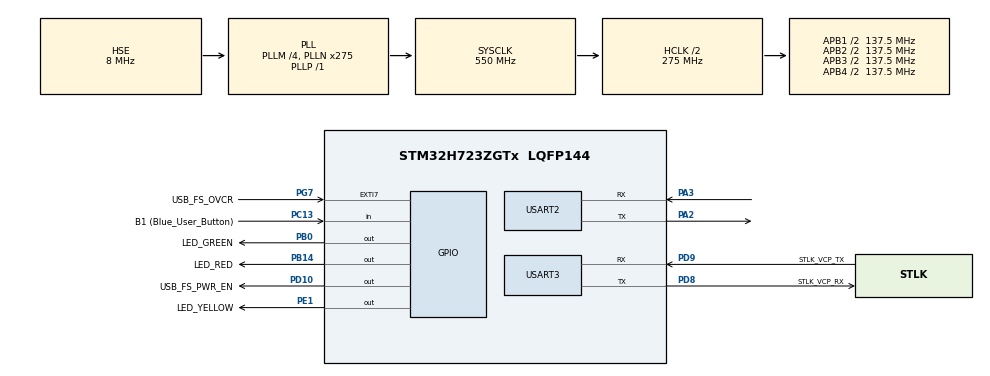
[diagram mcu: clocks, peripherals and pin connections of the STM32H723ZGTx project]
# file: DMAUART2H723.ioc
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Dma.Request0=USART2_TX
Dma.Request1=USART2_RX
Dma.USART2_RX.1.Direction=DMA_PERIPH_TO_MEMORY
Dma.USART2_RX.1.EventEnable=DISABLE
Dma.USART2_RX.1.FIFOMode=DMA_FIFOMODE_DISABLE
Dma.USART2_RX.1.Instance=DMA1_Stream1
Dma.USART2_RX.1.MemDataAlignment=DMA_MDATAALIGN_BYTE
Dma.USART2_RX.1.MemInc=DMA_MINC_ENABLE
Dma.USART2_RX.1.Mode=DMA_NORMAL
Dma.USART2_RX.1.PeriphDataAlignment=DMA_PDATAALIGN_BYTE
Dma.USART2_RX.1.PeriphInc=DMA_PINC_DISABLE
Dma.USART2_RX.1.Polarity=HAL_DMAMUX_REQ_GEN_RISING
Dma.USART2_RX.1.Priority=DMA_PRIORITY_LOW
Dma.USART2_RX.1.RequestNumber=1
Dma.USART2_RX.1.SignalID=NONE
Dma.USART2_RX.1.SyncEnable=DISABLE
Dma.USART2_RX.1.SyncPolarity=HAL_DMAMUX_SYNC_NO_EVENT
Dma.USART2_RX.1.SyncRequestNumber=1
Dma.USART2_RX.1.SyncSignalID=NONE
Dma.USART2_TX.0.Direction=DMA_MEMORY_TO_PERIPH
Dma.USART2_TX.0.EventEnable=DISABLE
Dma.USART2_TX.0.FIFOMode=DMA_FIFOMODE_DISABLE
Dma.USART2_TX.0.Instance=DMA1_Stream0
Dma.USART2_TX.0.MemDataAlignment=DMA_MDATAALIGN_BYTE
Dma.USART2_TX.0.MemInc=DMA_MINC_ENABLE
Dma.USART2_TX.0.Mode=DMA_NORMAL
Dma.USART2_TX.0.PeriphDataAlignment=DMA_PDATAALIGN_BYTE
Dma.USART2_TX.0.PeriphInc=DMA_PINC_DISABLE
Dma.USART2_TX.0.Polarity=HAL_DMAMUX_REQ_GEN_RISING
Dma.USART2_TX.0.Priority=DMA_PRIORITY_LOW
Dma.USART2_TX.0.RequestNumber=1
Dma.USART2_TX.0.SignalID=NONE
Dma.USART2_TX.0.SyncEnable=DISABLE
Dma.USART2_TX.0.SyncPolarity=HAL_DMAMUX_SYNC_NO_EVENT
Dma.USART2_TX.0.SyncRequestNumber=1
Dma.USART2_TX.0.SyncSignalID=NONE
Mcu.Family=STM32H7
Mcu.Name=STM32H723ZGTx
Mcu.Package=LQFP144
NVIC.DMA1_Stream0_IRQn=true\:0\:0\:false\:false\:true\:false\:true\:true
NVIC.DMA1_Stream1_IRQn=true\:0\:0\:false\:false\:true\:false\:true\:true
NVIC.PriorityGroup=NVIC_PRIORITYGROUP_4
NVIC.USART3_IRQn=true\:0\:0\:false\:false\:true\:true\:true\:true
PA1.GPIO_Label=RMII_REF_CLK
PA1.Signal=ETH_REF_CLK
PA10.GPIO_Label=USB_FS_ID
PA10.Signal=USB_OTG_HS_ID
PA13(JTMS/SWDIO).GPIO_Label=SWDIO
PA13(JTMS/SWDIO).Mode=Trace_Asynchronous_SW
PA13(JTMS/SWDIO).Signal=DEBUG_JTMS-SWDIO
PA14(JTCK/SWCLK).GPIO_Label=SWCLK
PA14(JTCK/SWCLK).Mode=Trace_Asynchronous_SW
PA14(JTCK/SWCLK).Signal=DEBUG_JTCK-SWCLK
PA2.Mode=Asynchronous
PA2.Signal=USART2_TX
PA3.Mode=Asynchronous
PA3.Signal=USART2_RX
PA7.GPIO_Label=RMII_CRS_DV
PA7.Signal=ETH_CRS_DV
PA9.GPIO_Label=USB_FS_VBUS
PA9.Signal=USB_OTG_HS_VBUS
PB0.GPIO_Label=LED_GREEN
PB0.Signal=GPIO_Output
PB13.GPIO_Label=RMII_TXD1
PB13.Signal=ETH_TXD1
PB14.GPIO_Label=LED_RED
PB14.Signal=GPIO_Output
PB3(JTDO/TRACESWO).GPIO_Label=SWO
PB3(JTDO/TRACESWO).Mode=Trace_Asynchronous_SW
PB3(JTDO/TRACESWO).Signal=DEBUG_JTDO-SWO
PC1.GPIO_Label=RMII_MDC
PC1.Signal=ETH_MDC
PC13.GPIO_Label=B1 (Blue_User_Button)
PC13.Signal=GPIO_Input
PC14-OSC32_IN.Mode=LSE-External-Oscillator
PC14-OSC32_IN.Signal=RCC_OSC32_IN
PC15-OSC32_OUT.Mode=LSE-External-Oscillator
PC15-OSC32_OUT.Signal=RCC_OSC32_OUT
PC4.GPIO_Label=RMII_RXD0
PC4.Signal=ETH_RXD0
PC5.GPIO_Label=RMII_RXD1
PC5.Signal=ETH_RXD1
PD10.GPIO_Label=USB_FS_PWR_EN
PD10.Signal=GPIO_Output
PD8.GPIO_Label=STLK_VCP_RX
PD8.Mode=Asynchronous
PD8.Signal=USART3_TX
PD9.GPIO_Label=STLK_VCP_TX
PD9.Mode=Asynchronous
PD9.Signal=USART3_RX
PE1.GPIO_Label=LED_YELLOW
PE1.Signal=GPIO_Output
PG11.GPIO_Label=RMII_TX_EN
PG11.Signal=ETH_TX_EN
PG13.GPIO_Label=RMII_TXD0
PG13.Signal=ETH_TXD0
PG7.GPIO_Label=USB_FS_OVCR
PG7.Signal=GPXTI7
PH0-OSC_IN.GPIO_Label=MCO
PH0-OSC_IN.Mode=HSE-External-Clock-Source
PH0-OSC_IN.Signal=RCC_OSC_IN
PH1-OSC_OUT.Signal=RCC_OSC_OUT
ProjectManager.HeapSize=0x200
ProjectManager.StackSize=0x400
ProjectManager.TargetToolchain=STM32CubeIDE
RCC.ADCFreq_Value=76000000
RCC.APB1Freq_Value=137500000
RCC.APB2Freq_Value=137500000
RCC.APB3Freq_Value=137500000
RCC.APB4Freq_Value=137500000
RCC.CortexFreq_Value=550000000
RCC.D1PPRE=RCC_APB3_DIV2
RCC.D2PPRE1=RCC_APB1_DIV2
RCC.D2PPRE2=RCC_APB2_DIV2
RCC.D3PPRE=RCC_APB4_DIV2
RCC.DIVM1=4
RCC.DIVM2=1
RCC.DIVN1=275
RCC.DIVN2=19
RCC.DIVP1=1
RCC.DIVQ1=4
RCC.HCLKFreq_Value=275000000
RCC.HPRE=RCC_HCLK_DIV2
RCC.HSE_VALUE=8000000
RCC.PLLFRACN=0
RCC.PLLSourceVirtual=RCC_PLLSOURCE_HSE
RCC.SYSCLKFreq_VALUE=550000000
RCC.SYSCLKSource=RCC_SYSCLKSOURCE_PLLCLK
RCC.USBCLockSelection=RCC_USBCLKSOURCE_HSI48
RCC.USBFreq_Value=48000000
USART2.VirtualMode-Asynchronous=VM_ASYNC
USART3.VirtualMode-Asynchronous=VM_ASYNC
VP_MEMORYMAP_VS_MEMORYMAP.Mode=CurAppReg
board=NUCLEO-H723ZG

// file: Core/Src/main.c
/* USER CODE BEGIN Header */
/**
  ******************************************************************************
  * @file           : main.c
  * @brief          : Main program body
  ******************************************************************************
  * @attention
  *
  * Copyright (c) 2024 STMicroelectronics.
  * All rights reserved.
  *
  * This software is licensed under terms that can be found in the LICENSE file
  * in the root directory of this software component.
  * If no LICENSE file comes with this software, it is provided AS-IS.
  *
  ******************************************************************************
  */
/* USER CODE END Header */
#include "main.h"

/* USER CODE BEGIN Includes */
#include "string.h"
#include "stdio.h"

/* USER CODE END Includes */

UART_HandleTypeDef huart2;
UART_HandleTypeDef huart3;
DMA_HandleTypeDef hdma_usart2_tx;
DMA_HandleTypeDef hdma_usart2_rx;

/* USER CODE BEGIN PV */

#if defined( __ICCARM__ )
  #define DMA_BUFFER \
      _Pragma("location=\".dma_buffer\"")
#else
  #define DMA_BUFFER \
      __attribute__((section(".dma_buffer")))
#endif

/* application config */
uint8_t testSendingOnInit = 1;
uint8_t testSendingStopOnReceivedData = 1;

/* application status */
uint8_t testSending = 0;
uint8_t greenOn = 0;
uint8_t redOn = 0;
uint8_t yellowOn = 0;

/* statistics and debugging */

uint16_t errorCounter = 0;

uint16_t uartRXUnknownInterrupt = 0;
uint16_t uartRXParityErrorInterrupt = 0;
uint16_t uartRXFramingErrorInterrupt = 0;
uint16_t uartRXNoiseErrorInterrupt = 0;
uint16_t uartRXOverrunErrorInterrupt = 0;
uint16_t uartRXErrorInterrupt = 0;

uint16_t messagesTXCompleted = 0;				/* successfully sent messages */
uint16_t messagesTXCompletedUnexpected = 0;		/* unexpected (unknown not sent by us) successfully sent messages */
uint16_t messagesTXSkipped = 0;					/* skipped message sending because previous is not finished */
uint16_t messagesTXIdle = 0;					/* executed sendPreparedModbusResponse() w/ prepared response data (modbusResponseSize = 0) */

uint16_t uartRXActiveToIdleDetections = 0;		/* times entered RX active to idle line interrupt */
uint16_t uartRXFullBufferDetections = 0;		/* times entered RX dma full buffer interrupt */
uint16_t uartRXActiveToIdleNotExpected = 0;		/* not expected idle detections (still transmitting or message received while not processes previous received request) */
uint16_t uartRXFullBufferNotExpected = 0;		/* not expected buffer full (still transmitting or message received while not processes previous received request) */

uint16_t messagesRXProcessed = 0;				/* total received requests */
uint16_t messagesTXResponsesToRXRequests = 0;	/* responses to received requests */
uint16_t messagesNOResponsesToRXRequests = 0;	/* received requests without response */

uint16_t messagesRXNotProcessed = 0;
uint16_t messagesRXIdle = 0;					/* executed processReceivedModbusRequests() w/ received message to process (modbusBytesReceived = 0) */

uint16_t messageRXZeroBytes = 0;
uint16_t lastDMAUart2RXCounterTooBig = 0;

/* transmit semaphores */
volatile uint8_t sendingMessage = 0;
/* receive semaphores */
volatile uint8_t uartRXDeny = 0;
volatile uint8_t uartRXCompleteOnFullBuffer = 0;
volatile uint8_t uartRXCompleteOnActiveToIdleLine = 0;

/* Buffer and size for MODBUS response */
#define MODBUS_TX_BUFFER_SIZE 256  				/* Adjust this size based on expected response length */
DMA_BUFFER uint8_t modbusResponse[MODBUS_TX_BUFFER_SIZE];  /* Buffer for preparation of the MODBUS response message */
uint8_t modbusResponseSize = 0;

/* Buffer for Test Message Send */
const uint8_t messageTestSend[] = {0x01, 0x03, 0x02, 0x00, 0x10, 0xB9, 0x88};  /* Used for testing send */

/* Buffer and size for MODBUS requests */
#define MODBUS_RX_BUFFER_SIZE 256  				/* Adjust this size based on expected request length */
DMA_BUFFER uint8_t modbusRequest[MODBUS_RX_BUFFER_SIZE];  	/* Buffer to store incoming MODBUS requests */
volatile uint16_t modbusBytesReceived = 0;

/* timing */
uint32_t previousMillisTest = 0;   // To store the last tick for test message
const uint32_t intervalTest = 1000; // ms interval test

uint32_t previousMillisLedGreen = 0;   // To store the last tick for turn led off
uint32_t previousMillisLedRed = 0;   // To store the last tick for turn led off
uint32_t previousMillisLedYellow = 0;   // To store the last tick for turn led off
const uint32_t intervalLedGreen = 100; // ms interval for led
const uint32_t intervalLedRed = 100; // ms interval for led
const uint32_t intervalLedYellow = 1000; // ms interval for led

#define UART_BUFFER_SIZE 16       // Buffer for up to 16 messages
#define UART_MAX_MESSAGE_SIZE 256  // Max size of each message

typedef struct {
    uint8_t buffer[UART_BUFFER_SIZE][UART_MAX_MESSAGE_SIZE];  // Message buffer
    uint16_t lengths[UART_BUFFER_SIZE];                       // Message lengths
    uint8_t head;  // Points to the next message to be sent
    uint8_t tail;  // Points to the next free slot
    uint8_t count; // Number of messages in the buffer
} UART_MessageBuffer;

UART_MessageBuffer uart_tx_buffer = { .head = 0, .tail = 0, .count = 0 };  // Initialize buffer

volatile uint8_t uart_transmitting = 0;  // Flag to indicate if transmission is ongoing
uint16_t debug_buffer_ovf = 0;
uint16_t debug_buffer_ovf_print = 0;
uint16_t debug_uart_handle_enterings = 0;
uint16_t debug_uart_handle_transmit_complete = 0;
uint16_t debug_uart_handle_transmit_empty = 0;
uint16_t debug_uart_handle_unknown = 0;
uint16_t debug_messagesTXCompleted = 0;
uint16_t debug_messagesTXCompletedUnexpected = 0;

uint16_t debug_uart_handle_receive = 0;
uint16_t debug_uart_handle_overrun_error = 0;
uint16_t debug_uart_handle_framing_error = 0;
uint16_t debug_uart_handle_parity_error = 0;
uint16_t debug_uart_handle_noise_error = 0;

uint16_t debug_uart_tx_empty_func_enterings = 0;
uint16_t debug_uart_try_send_func_enterings = 0;
uint16_t debug_uart_try_send_func_exec = 0;
uint16_t debug_uart_try_send_func_idle = 0;
uint16_t debug_uart_add_to_buffer = 0;
uint16_t debug_uart_try_send_func_exec_immediate = 0;

uint16_t debug_transmit_immediate_status_total = 0;
uint16_t debug_transmit_immediate_status_ok = 0;
uint16_t debug_transmit_immediate_status_error = 0;
uint16_t debug_transmit_immediate_status_busy = 0;
uint16_t debug_transmit_immediate_status_timeout = 0;

uint16_t debug_transmit_status_total = 0;
uint16_t debug_transmit_status_ok = 0;
uint16_t debug_transmit_status_error = 0;
uint16_t debug_transmit_status_busy = 0;
uint16_t debug_transmit_status_timeout = 0;

/* USER CODE END PV */

void SystemClock_Config(void);
static void MX_GPIO_Init(void);
static void MX_DMA_Init(void);
static void MX_USART2_UART_Init(void);
static void MX_USART3_UART_Init(void);
/* USER CODE BEGIN PFP */

void enableReceiveMessage(void);
void printBufferHex(char* tag, uint8_t* buffer, uint16_t size);

/* USER CODE END PFP */

/* USER CODE BEGIN 0 */

//void UART_TxEmpty(void)
//{
//	debug_uart_tx_empty_func_enterings++;
//	__HAL_UART_DISABLE_IT(&huart3, UART_IT_TXE);  // Specifically disable UART Transmit Empty interrupt
//}
void UART_TrySendMessagesFromBuffer(void)
{
	debug_uart_try_send_func_enterings++;
	if (uart_tx_buffer.count)
	{
		debug_uart_try_send_func_exec++;

		uart_transmitting = 1;
		HAL_StatusTypeDef status = HAL_UART_Transmit_IT(&huart3, uart_tx_buffer.buffer[uart_tx_buffer.head], uart_tx_buffer.lengths[uart_tx_buffer.head]);
		//__HAL_UART_CLEAR_FLAG(&huart2, UART_FLAG_TC); // Clear Transmission Complete flag
		//__HAL_UART_ENABLE_IT(&huart3, UART_IT_TC);  // Specifically enable UART Transmit Complete interrupt
		debug_transmit_status_total++;
		if(status == HAL_OK)
		{
			debug_transmit_status_ok++;
			// Transmission of the current message is complete
			uart_tx_buffer.head = (uart_tx_buffer.head + 1) % UART_BUFFER_SIZE;  // Move to the next message
			uart_tx_buffer.count--;
		}
		if(status == HAL_ERROR)
		{
			debug_transmit_status_error++;
		}
		if(status == HAL_BUSY)
		{
			debug_transmit_status_busy++;
		}
		if(status == HAL_TIMEOUT)
		{
			debug_transmit_status_timeout++;
		}
	}
	else
	{
		debug_uart_try_send_func_idle++;
		uart_transmitting = 0;  // No more messages to send
		//__HAL_UART_DISABLE_IT(&huart3, UART_IT_TC);  // Specifically disable UART Transmit Complete interrupt
	}
}

void UART_AddMessageToBuffer(uint8_t *data, uint16_t len)
{
    if (uart_tx_buffer.count < UART_BUFFER_SIZE)
    {
        // Add the message to the buffer
    	debug_uart_add_to_buffer++;
        memcpy(uart_tx_buffer.buffer[uart_tx_buffer.tail], data, len);
        uart_tx_buffer.lengths[uart_tx_buffer.tail] = len;
        uart_tx_buffer.tail = (uart_tx_buffer.tail + 1) % UART_BUFFER_SIZE;  // Increment tail
        uart_tx_buffer.count++;

        // If UART is not busy, start sending the first message
		if (uart_transmitting == 0)
        {
        	debug_uart_try_send_func_exec_immediate++;
        	UART_TrySendMessagesFromBuffer();
        }
    }
    else
    {
        // Buffer is full, handle overflow (e.g., discard message or notify error)
        //printf("Buffer full, message discarded!\r\n");
        debug_buffer_ovf++;
    }
}

int _write(int file, char *data, int len)
{
    UART_AddMessageToBuffer((uint8_t*)data, len);  // Add message to the buffer
    return len;  // Return the length of the message
}

void setGreenLed(void)
{
	HAL_GPIO_WritePin(GPIOB, LED_GREEN_Pin, GPIO_PIN_SET);
	greenOn = 1;
	previousMillisLedGreen = HAL_GetTick();
}

void setRedLed(void)
{
	HAL_GPIO_WritePin(GPIOB, LED_RED_Pin, GPIO_PIN_SET);
	redOn = 1;
	previousMillisLedRed = HAL_GetTick();
}

void setYellowLed(void)
{
	HAL_GPIO_WritePin(LED_YELLOW_GPIO_Port, LED_YELLOW_Pin, GPIO_PIN_SET);
	yellowOn = 1;
	previousMillisLedYellow = HAL_GetTick();
}

void resetGreenLed(void)
{
	HAL_GPIO_WritePin(GPIOB, LED_GREEN_Pin, GPIO_PIN_RESET);
	greenOn = 0;
}

void resetRedLed(void)
{
	HAL_GPIO_WritePin(GPIOB, LED_RED_Pin, GPIO_PIN_RESET);
	redOn = 0;
}

void resetYellowLed(void)
{
	HAL_GPIO_WritePin(LED_YELLOW_GPIO_Port, LED_YELLOW_Pin, GPIO_PIN_RESET);
	yellowOn = 0;
}

void modbusResponsePrepareTest(void)
{
	uint8_t size;
	size = sizeof(messageTestSend);
	memcpy(modbusResponse, messageTestSend, size);
	modbusResponseSize = size;
}

void sendPreparedModbusResponse(void)
{
	if (sendingMessage)
	{
		messagesTXSkipped++;
		return;
	}
	if (modbusResponseSize)
	{
		/* Start UART transmission using DMA */
        printf("Transmit Message of %d bytes\r\n", modbusResponseSize);  // Debugging line
		printBufferHex("TX", modbusResponse, modbusResponseSize);

		HAL_StatusTypeDef status = HAL_UART_Transmit_DMA(&huart2, modbusResponse, modbusResponseSize);
		if (status != HAL_OK)
		{
			printf("Error in sendPreparedModbusResponse HAL_UART_Transmit_DMA() call 1 returns:%d\r\n", status);
			status = HAL_UART_AbortTransmit(&huart2);
			if (status != HAL_OK)
			{
				printf("Error in sendPreparedModbusResponse HAL_UART_AbortTransmit() returns:%d\r\n", status);
			}
			status = HAL_UART_Transmit_DMA(&huart2, modbusResponse, modbusResponseSize);
			if (status != HAL_OK)
			{
				printf("Error in sendPreparedModbusResponse HAL_UART_AbortTransmit() call 2 returns:%d\r\n", status);
			}
		}
	    /* Enable Transmission Complete Interrupt for UART2 */
	    //__HAL_UART_ENABLE_IT(&huart2, UART_IT_TC);

		sendingMessage = 1;
		setGreenLed();
	}
	else
	{
		messagesTXIdle++;
	}
}

void modbusResponsePrepareForLastReceivedRequest(void)
{
	/* evaluate modbusBytesReceived and modbusRequest */
	/* prepare modbusResponseSize and modbusResponse */
	uint8_t size;
	size = sizeof(messageTestSend);
	memcpy(modbusResponse, messageTestSend, size);
	modbusResponseSize = size;
}

void configureDMAforUART2TX(void)
{
    /* Configure DMA for UART2 TX */
    hdma_usart2_tx.Instance = DMA1_Stream0;  /* Select appropriate stream for UART2 TX */
    hdma_usart2_tx.Init.Request = DMA_REQUEST_USART2_TX;
    hdma_usart2_tx.Init.Direction = DMA_MEMORY_TO_PERIPH;
    hdma_usart2_tx.Init.PeriphInc = DMA_PINC_DISABLE;
    hdma_usart2_tx.Init.MemInc = DMA_MINC_ENABLE;
    hdma_usart2_tx.Init.PeriphDataAlignment = DMA_PDATAALIGN_BYTE;
    hdma_usart2_tx.Init.MemDataAlignment = DMA_MDATAALIGN_BYTE;
    hdma_usart2_tx.Init.Mode = DMA_NORMAL;
    hdma_usart2_tx.Init.Priority = DMA_PRIORITY_LOW;
    hdma_usart2_tx.Init.FIFOMode = DMA_FIFOMODE_DISABLE;
    if (HAL_DMA_Init(&hdma_usart2_tx) != HAL_OK)
    {
    	/* Initialization error */
    	errorCounter++;
        Error_Handler();
    }

    /* Link DMA handle to UART handle */
    __HAL_LINKDMA(&huart2, hdmatx, hdma_usart2_tx);
}

void configureDMAforUART2RX(void)
{
    /* Configure DMA for UART2 RX */
    hdma_usart2_rx.Instance = DMA1_Stream1;  /* Select the correct stream for UART2 RX */
    hdma_usart2_rx.Init.Request = DMA_REQUEST_USART2_RX;
    hdma_usart2_rx.Init.Direction = DMA_PERIPH_TO_MEMORY;
    hdma_usart2_rx.Init.PeriphInc = DMA_PINC_DISABLE;
    hdma_usart2_rx.Init.MemInc = DMA_MINC_ENABLE;
    hdma_usart2_rx.Init.PeriphDataAlignment = DMA_PDATAALIGN_BYTE;
    hdma_usart2_rx.Init.MemDataAlignment = DMA_MDATAALIGN_BYTE;
    hdma_usart2_rx.Init.Mode = DMA_CIRCULAR;  /* Circular mode for continuous reception */
    hdma_usart2_rx.Init.Priority = DMA_PRIORITY_HIGH;
    hdma_usart2_rx.Init.FIFOMode = DMA_FIFOMODE_DISABLE;
    if (HAL_DMA_Init(&hdma_usart2_rx) != HAL_OK)
    {
        /* Initialization error */
    	errorCounter++;
        Error_Handler();
    }

    // Link DMA handle to UART handle
    __HAL_LINKDMA(&huart2, hdmarx, hdma_usart2_rx);
}

/* Callback function to handle end of transmission */
void HAL_UART_TxCpltCallback(UART_HandleTypeDef *huart)
{
    if (huart->Instance == USART2)
    {

    	HAL_DMA_StateTypeDef status = HAL_DMA_GetState(&hdma_usart2_tx);
    	uint32_t  u32ErrorDMA =            HAL_DMA_GetError(&hdma_usart2_tx);
    	if ((u32ErrorDMA != 0) || (status != HAL_DMA_STATE_READY))
		{
    		printf("HAL_DMA_GetState:%d HAL_DMA_GetError:%u\r\n", (int)status, (unsigned int)u32ErrorDMA);
		}

        /* Transmission complete, handle post-transmission actions here */
    	messagesTXCompleted++;
    	if (sendingMessage)
    	{
    		// Transmission complete, now we can reset the gState if expected
    		//printf("HAL_UART_TxCpltCallback huart->gState:%d on start\r\n", (int)huart->gState);
    		if (huart->gState == HAL_UART_STATE_BUSY_TX)
    		{
				huart->gState = HAL_UART_STATE_READY;
    		}
    		else
    		{
    			printf("HAL_UART_TxCpltCallback huart->gState:%d not expected\r\n",(int) huart->gState);
    		}
    		//printf("HAL_UART_TxCpltCallback huart->gState:%d on final\r\n",(int) huart->gState);

    		sendingMessage = 0;

			enableReceiveMessage();
	        /* Optional: Disable the TC interrupt after the transmission is complete */
	        //__HAL_UART_DISABLE_IT(huart, UART_IT_TC);
    	}
    	else
    	{
    		messagesTXCompletedUnexpected++;
    	}

    }

    if (huart->Instance == USART3)  // Only handle USART3
    {
    	debug_messagesTXCompleted++;
    	UART_TrySendMessagesFromBuffer();
    }

}

/* DMA reception complete callback (when buffer is filled) */
void HAL_UART_RxCpltCallback(UART_HandleTypeDef *huart)
{
    if (huart->Instance == USART2)
    {
        /* Reception complete, buffer is full, process the received message */

		uartRXFullBufferDetections++;

        if (uartRXDeny)
        {
        	uartRXFullBufferNotExpected++;
        }
        else
        {
			if (modbusBytesReceived)
			{
				messagesRXNotProcessed++;
			}

			modbusBytesReceived = MODBUS_RX_BUFFER_SIZE;
			uartRXCompleteOnFullBuffer = 1;
			uartRXDeny = 1;
        }
    }
}

/* UART interrupt handler for idle line detection */
void USART2_IRQHandler(void)
{
    uint32_t isrflags   = READ_REG(huart2.Instance->ISR);
    uint32_t errorflags = (isrflags & (uint32_t)(USART_ISR_PE | USART_ISR_FE | USART_ISR_NE | USART_ISR_ORE));

    if (errorflags != RESET)
    {
        /* Handle error flags */
        if ((isrflags & USART_ISR_PE) != RESET)
        {
            __HAL_UART_CLEAR_FLAG(&huart2, UART_CLEAR_PEF);
            // Parity error handling
            printf("UART Parity Error\r\n");
            uartRXParityErrorInterrupt++;
        }
        if ((isrflags & USART_ISR_FE) != RESET)
        {
            __HAL_UART_CLEAR_FLAG(&huart2, UART_CLEAR_FEF);
            // Framing error handling
            printf("UART Framing Error\r\n");
            uartRXFramingErrorInterrupt++;
        }
        if ((isrflags & USART_ISR_NE) != RESET)
        {
            __HAL_UART_CLEAR_FLAG(&huart2, UART_CLEAR_NEF);
            // Noise error handling
            printf("UART Noise Error\r\n");
            uartRXNoiseErrorInterrupt++;
        }
        if ((isrflags & USART_ISR_ORE) != RESET)
        {
            __HAL_UART_CLEAR_FLAG(&huart2, UART_CLEAR_OREF);
            // Overrun error handling
            printf("UART Overrun Error\r\n");
            uartRXOverrunErrorInterrupt++;
        }

        // Optional: abort ongoing transmission or reception
        HAL_UART_AbortReceive_IT(&huart2); // abort receive operation

        uartRXErrorInterrupt++;

        return;
    }

    // Handle Transmission Complete (TC)
    if (__HAL_UART_GET_FLAG(&huart2, UART_FLAG_TC) && __HAL_UART_GET_IT_SOURCE(&huart2, UART_IT_TC))
    {
        HAL_UART_TxCpltCallback(&huart2); // Call the Transmission Complete callback
        __HAL_UART_DISABLE_IT(&huart2, UART_IT_TC);  // Disable the Transmission Complete interrupt
        __HAL_UART_CLEAR_FLAG(&huart2, UART_FLAG_TC); // Clear Transmission Complete flag
        return;
    }

    if (__HAL_UART_GET_FLAG(&huart2, UART_FLAG_IDLE))
    {
        /* Clear the idle line flag by reading the status register and data register */
		__HAL_UART_CLEAR_IDLEFLAG(&huart2);

		// Stop the DMA temporarily to process the received data
		HAL_UART_DMAStop(&huart2);

		uartRXActiveToIdleDetections++;

        if (uartRXDeny)
        {
        	uartRXActiveToIdleNotExpected++;
        }
        else
        {
			if (modbusBytesReceived)
			{
				messagesRXNotProcessed++;
			}

			// Calculate the number of bytes received so far
			uint32_t lastDMAUart2RXCounter = __HAL_DMA_GET_COUNTER(&hdma_usart2_rx);
			if (lastDMAUart2RXCounter <= MODBUS_RX_BUFFER_SIZE)
			{
				modbusBytesReceived = MODBUS_RX_BUFFER_SIZE - lastDMAUart2RXCounter;
			}
			else
			{
				modbusBytesReceived = MODBUS_RX_BUFFER_SIZE;
				lastDMAUart2RXCounterTooBig++;
			}

			uartRXCompleteOnActiveToIdleLine = 1;

			uartRXDeny = 1;
        }
    }
    else
    {
    	uartRXUnknownInterrupt++;
    }
}

void enableReceiveMessageOnInit(void)
{
    /* Start receiving data using UART and DMA in circular mode */
    uartRXDeny = 0;

	HAL_UART_Receive_DMA(&huart2, modbusRequest, sizeof(modbusRequest));

    /* Clear the idle line flag by reading the status register and data register */
    __HAL_UART_CLEAR_IDLEFLAG(&huart2);
    /* Enable UART idle line detection interrupt */
    __HAL_UART_ENABLE_IT(&huart2, UART_IT_IDLE);

}

void enableReceiveMessage(void)
{
	/* Restart DMA reception for the next request */
	uartRXDeny = 0;

	HAL_UART_Receive_DMA(&huart2, modbusRequest, sizeof(modbusRequest));

}

void printBufferHex(char* tag, uint8_t* buffer, uint16_t size)
{
	char printdata[256] = {0};
	uint16_t printedbytes = 0;

	do
	{
		if((printedbytes % 16) == 0)
		{
			if(strlen(printdata))
			{
				printf("%s\r\n",printdata);
			}
			sprintf(printdata, "%s: ", tag);
			if(printedbytes == 0)
			{
				for (int i = 0; i < strlen(tag); i++)
				{
					tag[i] = ' ';
				}
			}
		}
		sprintf(&printdata[strlen(printdata)], " %02X", buffer[printedbytes]);
		printedbytes++;

	}while(printedbytes < size);
	printf("%s\r\n",printdata);

}

void processReceivedModbusRequests(void)
{

	if ((uartRXCompleteOnActiveToIdleLine) || (uartRXCompleteOnFullBuffer))
	{

		printf("Received Message %d bytes Causes: Idle:%d Full:%d\r\n", modbusBytesReceived, uartRXCompleteOnActiveToIdleLine, uartRXCompleteOnFullBuffer);  // Debugging line

		uartRXCompleteOnActiveToIdleLine = 0;
		uartRXCompleteOnFullBuffer = 0;

		if (modbusBytesReceived)		/* received non-empty message */
		{
			setRedLed();
			if (testSendingStopOnReceivedData)
			{
				testSending = 0;
			}

			messagesRXProcessed++;

			printBufferHex("RX", modbusRequest, modbusBytesReceived);

			/* Prepare response to the received MODBUS request */
			modbusResponsePrepareForLastReceivedRequest();	/* modbusBytesReceived and modbusRequest used inside | modbusResponseSize and modbusResponse touched inside */
			modbusBytesReceived = 0;

			if (modbusResponseSize)
			{
				messagesTXResponsesToRXRequests++;
				sendPreparedModbusResponse();
			}
			else
			{
				messagesNOResponsesToRXRequests++;
				enableReceiveMessage();
			}
		}
		else
		{
			messageRXZeroBytes++;
			enableReceiveMessage();
		}
	}
	else
	{
		messagesRXIdle++;
	}
}

/* USER CODE END 0 */

int main(void)
{

  /* MCU Configuration--------------------------------------------------------*/

  /* Reset of all peripherals, Initializes the Flash interface and the Systick. */
  HAL_Init();

  /* Configure the system clock */
  SystemClock_Config();

  /* Initialize all configured peripherals */
  MX_GPIO_Init();
  MX_DMA_Init();
  MX_USART2_UART_Init();
  MX_USART3_UART_Init();
  /* USER CODE BEGIN 2 */

  configureDMAforUART2TX();
  configureDMAforUART2RX();

  /* USER CODE END 2 */

  /* Infinite loop */
  /* USER CODE BEGIN WHILE */
  printf("\r\n");
  printf(".\r\n");
  printf("..\r\n");
  printf("...\r\n");
  printf("-----------------------------------\r\n");
  printf("Starting Application UART2 DMA Test\r\n");
  printf("-----------------------------------\r\n");
  printf("Initialization Message Number 1\r\n");
  printf("Initialization Message Number 2\r\n");
  printf("Initialization Message Number 3\r\n");
  printf("Initialization Message Number 4\r\n");
  printf("Initialization Message Number 5\r\n");
  printf("Initialization Message Number 6\r\n");
  printf("Initialization Message Number 7\r\n");
  printf("Initialization Message Number 8\r\n");
  printf("Initialization Message Number 9\r\n");
  printf("...\r\n");
  HAL_Delay(10);	//10 ms delay
  enableReceiveMessageOnInit();
  testSending = testSendingOnInit;

  while (1)
  {
	  processReceivedModbusRequests();

	  uint32_t currrentMillis = HAL_GetTick();

	  if (testSending)
	  {
		  /* Non-blocking Test ms delay */
		  if (currrentMillis - previousMillisTest >= intervalTest)
		  {
			  previousMillisTest = currrentMillis;  /* Update the last tick */
			  /* Perform an action every 500 ms */

			  modbusResponsePrepareTest();
			  sendPreparedModbusResponse();
		  }

	  }

	  if (greenOn)
	  {
		  /* Non-blocking Led Green ms delay */
		  if (currrentMillis - previousMillisLedGreen >= intervalLedGreen)
		  {
			  previousMillisLedGreen = currrentMillis;  /* Update the last tick */
			  resetGreenLed(); /* turn off led  */
		  }
	  }

	  if (redOn)
	  {
		  /* Non-blocking Led Red ms delay */
		  if (currrentMillis - previousMillisLedRed >= intervalLedRed)
		  {
			  previousMillisLedRed = currrentMillis;  /* Update the last tick */
			  resetRedLed();  /* turn off led  */
		  }
	  }

	  /* Non-blocking Led Yellow ms delay */
	  if (currrentMillis - previousMillisLedYellow >= intervalLedYellow)
	  {
		  previousMillisLedYellow = currrentMillis;  /* Update the last tick */
		  if (yellowOn)
		  {
			  resetYellowLed(); /* turn off led  */
		      printf("Yellow Pulse Off\r\n");  // Debugging line
		  }
		  else
		  {
			  setYellowLed(); /* turn on led  */
			  printf("Yellow Pulse On\r\n");  // Debugging line
		  }
	  }

    /* USER CODE END WHILE */

  }
}

void SystemClock_Config(void)
{
  RCC_OscInitTypeDef RCC_OscInitStruct = {0};
  RCC_ClkInitTypeDef RCC_ClkInitStruct = {0};

  /** Supply configuration update enable
  */
  HAL_PWREx_ConfigSupply(PWR_LDO_SUPPLY);

  /** Configure the main internal regulator output voltage
  */
  __HAL_PWR_VOLTAGESCALING_CONFIG(PWR_REGULATOR_VOLTAGE_SCALE0);

  while(!__HAL_PWR_GET_FLAG(PWR_FLAG_VOSRDY)) {}

  /** Initializes the RCC Oscillators according to the specified parameters
  * in the RCC_OscInitTypeDef structure.
  */
  RCC_OscInitStruct.OscillatorType = RCC_OSCILLATORTYPE_HSE;
  RCC_OscInitStruct.HSEState = RCC_HSE_BYPASS;
  RCC_OscInitStruct.PLL.PLLState = RCC_PLL_ON;
  RCC_OscInitStruct.PLL.PLLSource = RCC_PLLSOURCE_HSE;
  RCC_OscInitStruct.PLL.PLLM = 4;
  RCC_OscInitStruct.PLL.PLLN = 275;
  RCC_OscInitStruct.PLL.PLLP = 1;
  RCC_OscInitStruct.PLL.PLLQ = 4;
  RCC_OscInitStruct.PLL.PLLR = 2;
  RCC_OscInitStruct.PLL.PLLRGE = RCC_PLL1VCIRANGE_1;
  RCC_OscInitStruct.PLL.PLLVCOSEL = RCC_PLL1VCOWIDE;
  RCC_OscInitStruct.PLL.PLLFRACN = 0;
  if (HAL_RCC_OscConfig(&RCC_OscInitStruct) != HAL_OK)
  {
    Error_Handler();
  }

  /** Initializes the CPU, AHB and APB buses clocks
  */
  RCC_ClkInitStruct.ClockType = RCC_CLOCKTYPE_HCLK|RCC_CLOCKTYPE_SYSCLK
                              |RCC_CLOCKTYPE_PCLK1|RCC_CLOCKTYPE_PCLK2
                              |RCC_CLOCKTYPE_D3PCLK1|RCC_CLOCKTYPE_D1PCLK1;
  RCC_ClkInitStruct.SYSCLKSource = RCC_SYSCLKSOURCE_PLLCLK;
  RCC_ClkInitStruct.SYSCLKDivider = RCC_SYSCLK_DIV1;
  RCC_ClkInitStruct.AHBCLKDivider = RCC_HCLK_DIV2;
  RCC_ClkInitStruct.APB3CLKDivider = RCC_APB3_DIV2;
  RCC_ClkInitStruct.APB1CLKDivider = RCC_APB1_DIV2;
  RCC_ClkInitStruct.APB2CLKDivider = RCC_APB2_DIV2;
  RCC_ClkInitStruct.APB4CLKDivider = RCC_APB4_DIV2;

  if (HAL_RCC_ClockConfig(&RCC_ClkInitStruct, FLASH_LATENCY_3) != HAL_OK)
  {
    Error_Handler();
  }
}

static void MX_USART2_UART_Init(void)
{

  huart2.Instance = USART2;
  huart2.Init.BaudRate = 115200;
  huart2.Init.WordLength = UART_WORDLENGTH_8B;
  huart2.Init.StopBits = UART_STOPBITS_1;
  huart2.Init.Parity = UART_PARITY_NONE;
  huart2.Init.Mode = UART_MODE_TX_RX;
  huart2.Init.HwFlowCtl = UART_HWCONTROL_NONE;
  huart2.Init.OverSampling = UART_OVERSAMPLING_16;
  huart2.Init.OneBitSampling = UART_ONE_BIT_SAMPLE_DISABLE;
  huart2.Init.ClockPrescaler = UART_PRESCALER_DIV1;
  huart2.AdvancedInit.AdvFeatureInit = UART_ADVFEATURE_NO_INIT;
  if (HAL_UART_Init(&huart2) != HAL_OK)
  {
    Error_Handler();
  }
  if (HAL_UARTEx_SetTxFifoThreshold(&huart2, UART_TXFIFO_THRESHOLD_1_8) != HAL_OK)
  {
    Error_Handler();
  }
  if (HAL_UARTEx_SetRxFifoThreshold(&huart2, UART_RXFIFO_THRESHOLD_1_8) != HAL_OK)
  {
    Error_Handler();
  }
  if (HAL_UARTEx_DisableFifoMode(&huart2) != HAL_OK)
  {
    Error_Handler();
  }
  /* USER CODE BEGIN USART2_Init 2 */
  HAL_NVIC_SetPriority(USART2_IRQn, 0, 0);  // Set high priority for USART2
  HAL_NVIC_EnableIRQ(USART2_IRQn);  // Enable interrupt for USART2
  /* USER CODE END USART2_Init 2 */

}

static void MX_USART3_UART_Init(void)
{

  huart3.Instance = USART3;
  huart3.Init.BaudRate = 115200;
  huart3.Init.WordLength = UART_WORDLENGTH_8B;
  huart3.Init.StopBits = UART_STOPBITS_1;
  huart3.Init.Parity = UART_PARITY_NONE;
  huart3.Init.Mode = UART_MODE_TX_RX;
  huart3.Init.HwFlowCtl = UART_HWCONTROL_NONE;
  huart3.Init.OverSampling = UART_OVERSAMPLING_16;
  huart3.Init.OneBitSampling = UART_ONE_BIT_SAMPLE_DISABLE;
  huart3.Init.ClockPrescaler = UART_PRESCALER_DIV1;
  huart3.AdvancedInit.AdvFeatureInit = UART_ADVFEATURE_NO_INIT;
  if (HAL_UART_Init(&huart3) != HAL_OK)
  {
    Error_Handler();
  }
  if (HAL_UARTEx_SetTxFifoThreshold(&huart3, UART_TXFIFO_THRESHOLD_1_8) != HAL_OK)
  {
    Error_Handler();
  }
  if (HAL_UARTEx_SetRxFifoThreshold(&huart3, UART_RXFIFO_THRESHOLD_1_8) != HAL_OK)
  {
    Error_Handler();
  }
  if (HAL_UARTEx_DisableFifoMode(&huart3) != HAL_OK)
  {
    Error_Handler();
  }
  /* USER CODE BEGIN USART3_Init 2 */
  HAL_NVIC_SetPriority(USART3_IRQn, 0, 1);  // Set high priority for USART3
  HAL_NVIC_EnableIRQ(USART3_IRQn);  // Enable interrupt for USART3
  //__HAL_UART_ENABLE_IT(&huart3, UART_IT_TC);  // Specifically enable UART Transmit Complete interrupt
  /* USER CODE END USART3_Init 2 */

}

static void MX_DMA_Init(void)
{

  /* DMA controller clock enable */
  __HAL_RCC_DMA1_CLK_ENABLE();

  /* DMA interrupt init */
  /* DMA1_Stream0_IRQn interrupt configuration */
  HAL_NVIC_SetPriority(DMA1_Stream0_IRQn, 0, 0);
  HAL_NVIC_EnableIRQ(DMA1_Stream0_IRQn);
  /* DMA1_Stream1_IRQn interrupt configuration */
  HAL_NVIC_SetPriority(DMA1_Stream1_IRQn, 0, 0);
  HAL_NVIC_EnableIRQ(DMA1_Stream1_IRQn);

}

static void MX_GPIO_Init(void)
{
  GPIO_InitTypeDef GPIO_InitStruct = {0};

  /* GPIO Ports Clock Enable */
  __HAL_RCC_GPIOC_CLK_ENABLE();
  __HAL_RCC_GPIOH_CLK_ENABLE();
  __HAL_RCC_GPIOA_CLK_ENABLE();
  __HAL_RCC_GPIOB_CLK_ENABLE();
  __HAL_RCC_GPIOD_CLK_ENABLE();
  __HAL_RCC_GPIOG_CLK_ENABLE();
  __HAL_RCC_GPIOE_CLK_ENABLE();

  /*Configure GPIO pin Output Level */
  HAL_GPIO_WritePin(GPIOB, LED_GREEN_Pin|LED_RED_Pin, GPIO_PIN_RESET);

  /*Configure GPIO pin Output Level */
  HAL_GPIO_WritePin(USB_FS_PWR_EN_GPIO_Port, USB_FS_PWR_EN_Pin, GPIO_PIN_RESET);

  /*Configure GPIO pin Output Level */
  HAL_GPIO_WritePin(LED_YELLOW_GPIO_Port, LED_YELLOW_Pin, GPIO_PIN_RESET);

  /*Configure GPIO pin : B1_Pin */
  GPIO_InitStruct.Pin = B1_Pin;
  GPIO_InitStruct.Mode = GPIO_MODE_INPUT;
  GPIO_InitStruct.Pull = GPIO_NOPULL;
  HAL_GPIO_Init(B1_GPIO_Port, &GPIO_InitStruct);

  /*Configure GPIO pins : RMII_MDC_Pin RMII_RXD0_Pin RMII_RXD1_Pin */
  GPIO_InitStruct.Pin = RMII_MDC_Pin|RMII_RXD0_Pin|RMII_RXD1_Pin;
  GPIO_InitStruct.Mode = GPIO_MODE_AF_PP;
  GPIO_InitStruct.Pull = GPIO_NOPULL;
  GPIO_InitStruct.Speed = GPIO_SPEED_FREQ_LOW;
  GPIO_InitStruct.Alternate = GPIO_AF11_ETH;
  HAL_GPIO_Init(GPIOC, &GPIO_InitStruct);

  /*Configure GPIO pins : RMII_REF_CLK_Pin RMII_CRS_DV_Pin */
  GPIO_InitStruct.Pin = RMII_REF_CLK_Pin|RMII_CRS_DV_Pin;
  GPIO_InitStruct.Mode = GPIO_MODE_AF_PP;
  GPIO_InitStruct.Pull = GPIO_NOPULL;
  GPIO_InitStruct.Speed = GPIO_SPEED_FREQ_LOW;
  GPIO_InitStruct.Alternate = GPIO_AF11_ETH;
  HAL_GPIO_Init(GPIOA, &GPIO_InitStruct);

  /*Configure GPIO pins : LED_GREEN_Pin LED_RED_Pin */
  GPIO_InitStruct.Pin = LED_GREEN_Pin|LED_RED_Pin;
  GPIO_InitStruct.Mode = GPIO_MODE_OUTPUT_PP;
  GPIO_InitStruct.Pull = GPIO_NOPULL;
  GPIO_InitStruct.Speed = GPIO_SPEED_FREQ_LOW;
  HAL_GPIO_Init(GPIOB, &GPIO_InitStruct);

  /*Configure GPIO pin : RMII_TXD1_Pin */
  GPIO_InitStruct.Pin = RMII_TXD1_Pin;
  GPIO_InitStruct.Mode = GPIO_MODE_AF_PP;
  GPIO_InitStruct.Pull = GPIO_NOPULL;
  GPIO_InitStruct.Speed = GPIO_SPEED_FREQ_LOW;
  GPIO_InitStruct.Alternate = GPIO_AF11_ETH;
  HAL_GPIO_Init(RMII_TXD1_GPIO_Port, &GPIO_InitStruct);

  /*Configure GPIO pin : USB_FS_PWR_EN_Pin */
  GPIO_InitStruct.Pin = USB_FS_PWR_EN_Pin;
  GPIO_InitStruct.Mode = GPIO_MODE_OUTPUT_PP;
  GPIO_InitStruct.Pull = GPIO_NOPULL;
  GPIO_InitStruct.Speed = GPIO_SPEED_FREQ_LOW;
  HAL_GPIO_Init(USB_FS_PWR_EN_GPIO_Port, &GPIO_InitStruct);

  /*Configure GPIO pin : USB_FS_OVCR_Pin */
  GPIO_InitStruct.Pin = USB_FS_OVCR_Pin;
  GPIO_InitStruct.Mode = GPIO_MODE_IT_RISING;
  GPIO_InitStruct.Pull = GPIO_NOPULL;
  HAL_GPIO_Init(USB_FS_OVCR_GPIO_Port, &GPIO_InitStruct);

  /*Configure GPIO pin : USB_FS_ID_Pin */
  GPIO_InitStruct.Pin = USB_FS_ID_Pin;
  GPIO_InitStruct.Mode = GPIO_MODE_AF_PP;
  GPIO_InitStruct.Pull = GPIO_NOPULL;
  GPIO_InitStruct.Speed = GPIO_SPEED_FREQ_LOW;
  GPIO_InitStruct.Alternate = GPIO_AF10_OTG1_HS;
  HAL_GPIO_Init(USB_FS_ID_GPIO_Port, &GPIO_InitStruct);

  /*Configure GPIO pins : RMII_TX_EN_Pin RMII_TXD0_Pin */
  GPIO_InitStruct.Pin = RMII_TX_EN_Pin|RMII_TXD0_Pin;
  GPIO_InitStruct.Mode = GPIO_MODE_AF_PP;
  GPIO_InitStruct.Pull = GPIO_NOPULL;
  GPIO_InitStruct.Speed = GPIO_SPEED_FREQ_LOW;
  GPIO_InitStruct.Alternate = GPIO_AF11_ETH;
  HAL_GPIO_Init(GPIOG, &GPIO_InitStruct);

  /*Configure GPIO pin : LED_YELLOW_Pin */
  GPIO_InitStruct.Pin = LED_YELLOW_Pin;
  GPIO_InitStruct.Mode = GPIO_MODE_OUTPUT_PP;
  GPIO_InitStruct.Pull = GPIO_NOPULL;
  GPIO_InitStruct.Speed = GPIO_SPEED_FREQ_LOW;
  HAL_GPIO_Init(LED_YELLOW_GPIO_Port, &GPIO_InitStruct);

}

void Error_Handler(void)
{
  __disable_irq();
  while (1)
  {
  }
}
